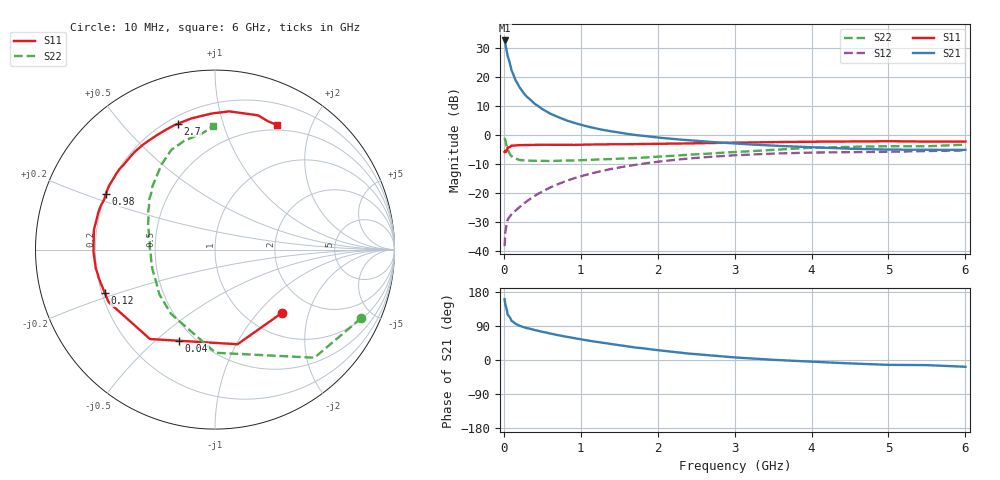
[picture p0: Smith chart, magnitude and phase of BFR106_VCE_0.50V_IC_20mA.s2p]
! Infineon Technologies  Discrete & RF Semiconductors
! BFR106
! VCE = 0.50 V,  IC =  20 mA
! Common Emitter S-Parameters:  Nov 2015
# GHz  S  MA  R  50
!  f  S11  S21  S12  S22
! GHz  MAG  ANG  MAG  ANG  MAG  ANG  MAG  ANG
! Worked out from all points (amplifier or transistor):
!   210 points, 10 MHz to 6 GHz, reference 50 ohm
!   highest |S21| = 32.6 dB at 10 MHz (marker M1)
!   |S21| within 3 dB of that: start of sweep to 33.48 MHz
!   unconditionally stable (mu >= 1): 302.6 MHz to end of sweep
!   at 185 MHz: K = 0.82, MSG = 21.3 dB, |S12| = -25.2 dB
!   at 1.52 GHz: K = 1.10, MAG = 4.0 dB, |S12| = -11.1 dB
!   at 6 GHz: K = 1.03, MAG = -1.0 dB, |S12| = -5.2 dB
!   S11 on the Smith chart (normalised r, x): 10 MHz: 1.43, -1.37; 40 MHz: 0.41, -0.60; 120 MHz: 0.21, -0.18; 980 MHz: 0.20, +0.23; 2.7 GHz: 0.24, +0.72; 6 GHz: 0.44, +1.52
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0.01  0.5136 -43.2  42.81 160.6  0.0122 75.5  0.8999 -25.1
0.02  0.542 -76.6  37.43 145.5  0.0217 62.2  0.8183 -47.4
0.04  0.5458 -111.4  27.22 131.0  0.0303 49.1  0.6131 -72.3
0.05  0.616 -126.0  23.18 119.4  0.0349 45.0  0.5748 -89.7
0.1  0.661 -153.7  13.1 103.1  0.0435 42.2  0.4339 -124.4
0.12  0.6595 -158.3  11.42 100.7  0.046 43.4  0.415 -130.8
0.15  0.6652 -165.1  8.957 95.4  0.0497 45.0  0.3974 -141.4
0.2  0.6723 -171.2  6.815 90.7  0.0569 48.8  0.3742 -151.1
0.26  0.6743 -176.7  5.273 86.4  0.0663 52.5  0.3668 -159.4
0.3  0.6772 -179.1  4.578 84.1  0.0726 54.6  0.3654 -162.9
0.4  0.6786 174.7  3.477 78.9  0.0894 57.7  0.3611 -169.9
0.6  0.6805 166.3  2.362 69.8  0.1246 59.7  0.3584 -178.0
0.8  0.682 159.3  1.819 61.9  0.1601 59.0  0.3652 176.1
0.98  0.6827 152.8  1.535 55.5  0.1918 57.2  0.3684 171.9
1.02  0.685 151.5  1.485 54.0  0.1985 56.7  0.3702 171.1
1.4  0.6959 140.0  1.159 42.1  0.2619 51.1  0.3875 163.0
2.02  0.7099 122.8  0.904 25.5  0.3501 40.5  0.4277 150.6
2.7  0.7311 106.3  0.762 11.9  0.4237 28.8  0.4837 136.8
3.1  0.7445 98.3  0.704 5.6  0.4552 22.1  0.5196 129.1
4.1  0.7739 82.8  0.611 -5.4  0.5018 7.6  0.6105 112.0
5.1  0.7826 71.3  0.562 -12.9  0.519 -3.2  0.6441 98.5
6  0.7751 63.6  0.558 -17.9  0.5466 -11.4  0.6861 91.1
